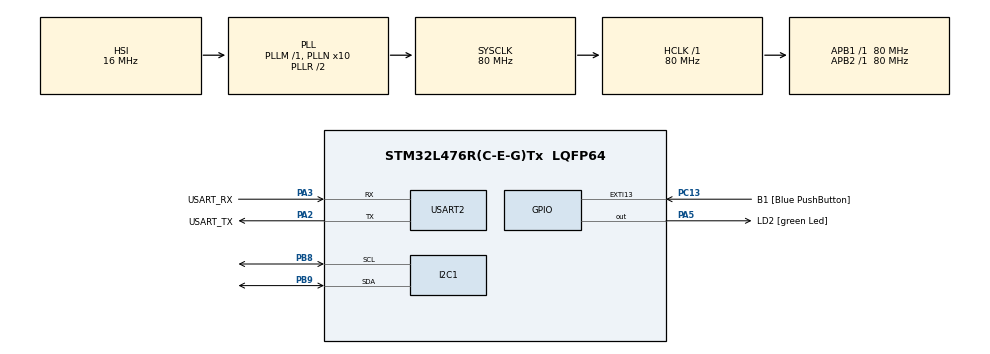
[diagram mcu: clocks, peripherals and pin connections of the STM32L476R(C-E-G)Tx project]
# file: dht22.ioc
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I2C1.Timing=0x10909CEC
Mcu.Family=STM32L4
Mcu.Name=STM32L476R(C-E-G)Tx
Mcu.Package=LQFP64
NVIC.I2C1_ER_IRQn=true\:0\:0\:false\:false\:true\:true\:true
NVIC.I2C1_EV_IRQn=true\:0\:0\:false\:false\:true\:true\:true
NVIC.PriorityGroup=NVIC_PRIORITYGROUP_4
PA13\ (JTMS-SWDIO).GPIO_Label=TMS
PA13\ (JTMS-SWDIO).Mode=Serial_Wire
PA13\ (JTMS-SWDIO).Signal=SYS_JTMS-SWDIO
PA14\ (JTCK-SWCLK).GPIO_Label=TCK
PA14\ (JTCK-SWCLK).Mode=Serial_Wire
PA14\ (JTCK-SWCLK).Signal=SYS_JTCK-SWCLK
PA2.GPIO_Label=USART_TX
PA2.GPIO_Mode=GPIO_MODE_AF_PP
PA2.GPIO_PuPd=GPIO_NOPULL
PA2.GPIO_Speed=GPIO_SPEED_FREQ_VERY_HIGH
PA2.Mode=Asynchronous
PA2.Signal=USART2_TX
PA3.GPIO_Label=USART_RX
PA3.GPIO_Mode=GPIO_MODE_AF_PP
PA3.GPIO_PuPd=GPIO_NOPULL
PA3.GPIO_Speed=GPIO_SPEED_FREQ_VERY_HIGH
PA3.Mode=Asynchronous
PA3.Signal=USART2_RX
PA5.GPIO_Label=LD2 [green Led]
PA5.GPIO_ModeDefaultOutputPP=GPIO_MODE_OUTPUT_PP
PA5.GPIO_PuPd=GPIO_NOPULL
PA5.GPIO_Speed=GPIO_SPEED_FREQ_LOW
PA5.Signal=GPIO_Output
PB3\ (JTDO-TRACESWO).GPIO_Label=SWO
PB3\ (JTDO-TRACESWO).Signal=SYS_JTDO-SWO
PB8.Mode=I2C
PB8.Signal=I2C1_SCL
PB9.Mode=I2C
PB9.Signal=I2C1_SDA
PC13.GPIO_Label=B1 [Blue PushButton]
PC13.GPIO_ModeDefaultEXTI=GPIO_MODE_IT_FALLING
PC13.GPIO_PuPd=GPIO_NOPULL
PC13.Signal=GPXTI13
PC14-OSC32_IN\ (PC14).Signal=RCC_OSC32_IN
PC15-OSC32_OUT\ (PC15).Signal=RCC_OSC32_OUT
PH0-OSC_IN\ (PH0).Mode=HSE-External-Oscillator
PH0-OSC_IN\ (PH0).Signal=RCC_OSC_IN
PH1-OSC_OUT\ (PH1).Mode=HSE-External-Oscillator
PH1-OSC_OUT\ (PH1).Signal=RCC_OSC_OUT
ProjectManager.HeapSize=0x200
ProjectManager.StackSize=0x400
ProjectManager.TargetToolchain=STM32CubeIDE
RCC.ADCFreq_Value=64000000
RCC.AHBFreq_Value=80000000
RCC.APB1Freq_Value=80000000
RCC.APB1TimFreq_Value=80000000
RCC.APB2Freq_Value=80000000
RCC.APB2TimFreq_Value=80000000
RCC.CortexFreq_Value=80000000
RCC.HCLKFreq_Value=80000000
RCC.HSE_VALUE=8000000
RCC.HSI_VALUE=16000000
RCC.MSI_VALUE=4000000
RCC.PLLN=10
RCC.PLLSourceVirtual=RCC_PLLSOURCE_HSI
RCC.PREFETCH_ENABLE=1
RCC.SYSCLKFreq_VALUE=80000000
RCC.SYSCLKSource=RCC_SYSCLKSOURCE_PLLCLK
RCC.USBFreq_Value=64000000
RCC.VCOOutputFreq_Value=160000000
TIM2.Prescaler=80-1
USART2.VirtualMode-Asynchronous=VM_ASYNC
VP_TIM2_VS_ClockSourceINT.Mode=Internal
board=NUCLEO-L476RG

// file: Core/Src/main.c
/* USER CODE BEGIN Header */
/*
*/
/* USER CODE END Header */
#include "main.h"
#include "i2c.h"
#include "tim.h"
#include "usart.h"
#include "gpio.h"

/* USER CODE BEGIN Includes */
#include "lib_lcd.h"
#include <stdio.h>
#include "HT.h"
#include "timer.h" //pour creer des microsecondes
/* USER CODE END Includes */

/* USER CODE BEGIN PTD */
static rgb_lcd lcdData;
/* USER CODE END PTD */

/* USER CODE BEGIN PV */

float Temperature = 0, Humidite = 0;
uint16_t RH = 0, TEMP = 0;
uint8_t dataH1;
uint8_t dataH2;
uint8_t dataT1;
uint8_t dataT2;
uint8_t SUM;
uint8_t check;
char bufRH[20]; //pour stocker une valeur et l'afficher sur le LCD
char bufT[20]; //pour stocker une valeur et l'afficher sur le LCD

/* USER CODE END PV */

void SystemClock_Config(void);

int main(void)
{
  /* USER CODE BEGIN 1 */

  int k = 0; //variable pour les bloucles while

  /* USER CODE END 1 */

  /* MCU Configuration--------------------------------------------------------*/

  /* Reset of all peripherals, Initializes the Flash interface and the Systick. */
  HAL_Init();

  /* Configure the system clock */
  SystemClock_Config();

  /* Initialize all configured peripherals */
  MX_GPIO_Init();
  MX_USART2_UART_Init();
  MX_I2C1_Init();
  MX_TIM2_Init();
  /* USER CODE BEGIN 2 */
  DWT_Delay_Init();
  lcd_init(&hi2c1, &lcdData); // initialise le lcd
  lcd_position(&hi2c1,0,0);
  lcd_print(&hi2c1,"Bonjour!!");
  reglagecouleur(0,0,255);
  HAL_Delay(3000);
  /* USER CODE END 2 */

  /* Infinite loop */
  while (1)
  {

    /* USER CODE BEGIN 3 */

	  /*commence la communication avec le capteur*/

	  HAL_Delay(3000);
	  Data_Output(GPIOA, GPIO_PIN_1); //info vers le capteur
	  HAL_GPIO_WritePin(GPIOA, GPIO_PIN_1, GPIO_PIN_RESET);
	  DWT_Delay_us(1200); //signal de commande
	  HAL_GPIO_WritePin(GPIOA, GPIO_PIN_1, GPIO_PIN_SET);
	  DWT_Delay_us(30); //signal de commande
	  Data_Input(GPIOA, GPIO_PIN_1); //info vers le microcontroleur

	  /*commence la reception de donnees*/

	  while(!(HAL_GPIO_ReadPin(GPIOA, GPIO_PIN_1)));

	  for (k=0;k<1000;k++)
	  {
		  if (HAL_GPIO_ReadPin (GPIOA, GPIO_PIN_1) == GPIO_PIN_RESET)
		  {
	  	  	break;
	  	  }
	  }

	  while(!(HAL_GPIO_ReadPin(GPIOA, GPIO_PIN_1)));
	  DWT_Delay_us(40);

	  Read_data(&dataH1); //dans la library HT.c
	  Read_data(&dataH2);
	  Read_data(&dataT1);
	  Read_data(&dataT2);
	  Read_data(&SUM);

	  check = dataH1 + dataH2 + dataT1 + dataT2; //pour verifier la lecture dans le IDE

	  RH = (dataH1<<8) | dataH2;
	  TEMP = (dataT1<<8) | dataT2;

	  Humidite = RH / 10.0;
	  Temperature = TEMP / 10.0;

	  HAL_GPIO_WritePin(GPIOA, GPIO_PIN_1, GPIO_PIN_SET); //pour la prochaine lecture

	  /*commence transmission vers LCD*/
	  clearlcd();
	  sprintf(bufRH,"Humidite: %.1f", Humidite);
	  sprintf(bufT, "Temp.: %.1f C", Temperature);
	  lcd_position(&hi2c1,0,0);
	  lcd_print(&hi2c1,bufRH);
	  lcd_print(&hi2c1,"%");
	  lcd_position(&hi2c1,0,1);
	  lcd_print(&hi2c1,bufT);
	  reglagecouleur(0,0,255);
  }
  /* USER CODE END 3 */
}

void SystemClock_Config(void)
{
  RCC_OscInitTypeDef RCC_OscInitStruct = {0};
  RCC_ClkInitTypeDef RCC_ClkInitStruct = {0};

  /** Configure the main internal regulator output voltage
  */
  if (HAL_PWREx_ControlVoltageScaling(PWR_REGULATOR_VOLTAGE_SCALE1) != HAL_OK)
  {
    Error_Handler();
  }
  /** Initializes the RCC Oscillators according to the specified parameters
  * in the RCC_OscInitTypeDef structure.
  */
  RCC_OscInitStruct.OscillatorType = RCC_OSCILLATORTYPE_HSI;
  RCC_OscInitStruct.HSIState = RCC_HSI_ON;
  RCC_OscInitStruct.HSICalibrationValue = RCC_HSICALIBRATION_DEFAULT;
  RCC_OscInitStruct.PLL.PLLState = RCC_PLL_ON;
  RCC_OscInitStruct.PLL.PLLSource = RCC_PLLSOURCE_HSI;
  RCC_OscInitStruct.PLL.PLLM = 1;
  RCC_OscInitStruct.PLL.PLLN = 10;
  RCC_OscInitStruct.PLL.PLLP = RCC_PLLP_DIV7;
  RCC_OscInitStruct.PLL.PLLQ = RCC_PLLQ_DIV2;
  RCC_OscInitStruct.PLL.PLLR = RCC_PLLR_DIV2;
  if (HAL_RCC_OscConfig(&RCC_OscInitStruct) != HAL_OK)
  {
    Error_Handler();
  }
  /** Initializes the CPU, AHB and APB buses clocks
  */
  RCC_ClkInitStruct.ClockType = RCC_CLOCKTYPE_HCLK|RCC_CLOCKTYPE_SYSCLK
                              |RCC_CLOCKTYPE_PCLK1|RCC_CLOCKTYPE_PCLK2;
  RCC_ClkInitStruct.SYSCLKSource = RCC_SYSCLKSOURCE_PLLCLK;
  RCC_ClkInitStruct.AHBCLKDivider = RCC_SYSCLK_DIV1;
  RCC_ClkInitStruct.APB1CLKDivider = RCC_HCLK_DIV1;
  RCC_ClkInitStruct.APB2CLKDivider = RCC_HCLK_DIV1;

  if (HAL_RCC_ClockConfig(&RCC_ClkInitStruct, FLASH_LATENCY_4) != HAL_OK)
  {
    Error_Handler();
  }
}

void Error_Handler(void)
{
  __disable_irq();
  while (1)
  {
  }
}
